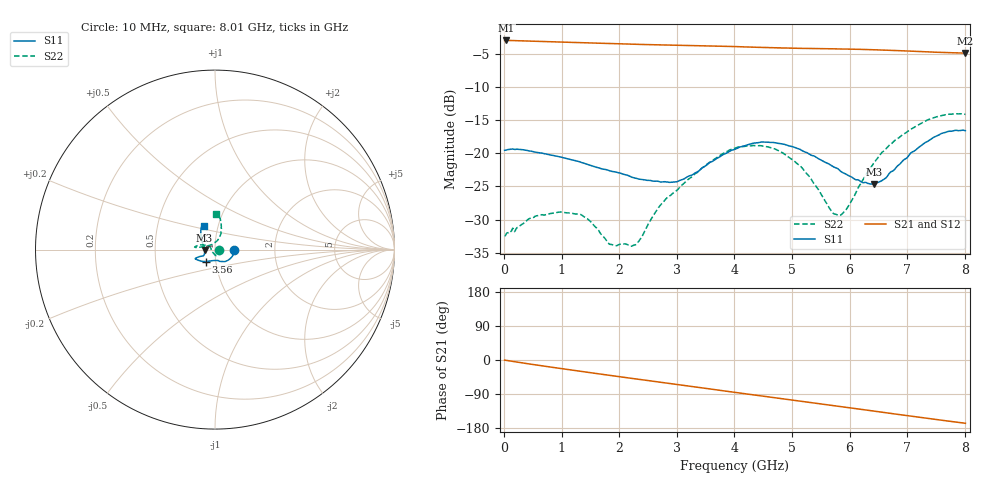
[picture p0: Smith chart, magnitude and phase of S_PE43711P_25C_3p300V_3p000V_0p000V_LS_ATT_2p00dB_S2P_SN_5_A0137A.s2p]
! Device ID: PE43711P
! File Path: z:\PE43711P\CHAR_NOM_04282014\AMB\3p300\LS_ATT_2p00dB\PE43711P_AMB_3p300V_3p000V_0p000V_LS_ATT_2p00dB_S2P_SN_5_A0137A.s2p
! Serial: 5
! Lot: A0137A
! Temp: 25C
! VDD: 3.300
! VSS: 0.000
! Control_Hi: 3.000
! Control_Lo: 0.000
! Attenuation Step: 2.00dB
! Port 1: RF1
! Port 2: RF2
! ThroughPath:1-2
! IDD: 0.0001275157
! ISS: -1.42e-007
#  Hz  S  RI  R  50
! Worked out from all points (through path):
!   801 points, 10 MHz to 8.01 GHz, reference 50 ohm
!   highest |S21| = -3.02 dB at 40 MHz (marker M1); lowest = -4.9 dB at 8.01 GHz (marker M2)
!   group delay of S21, straight-line fit = 57.4 ps
!   lowest |S11| = -24.7 dB at 6.42 GHz (marker M3), VSWR 1.12, Z = 44.5 - j0.234 ohm
!   |S11| at or under -10 dB: start of sweep to end of sweep
!   |S22| runs from -34.0 to -14.0 dB; largest |S21 - S12| = 0.001
!   S11 on the Smith chart (normalised r, x): 10 MHz: 1.24, -0.00; 3.56 GHz: 0.89, -0.12; 8.01 GHz: 0.85, +0.23
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1e7  0.1052 -0.000597  0.7059 -0.00344  0.7061 -0.00361  0.0238 -0.000217
4e7  0.1057 -0.00213  0.7059 -0.0121  0.7059 -0.0121  0.0247 -0.000385
5.8e8  0.0918 -0.0425  0.6759 -0.1639  0.6759 -0.1639  0.0236 -0.0243
9.7e8  0.0724 -0.0597  0.6359 -0.2588  0.636 -0.2589  0.0147 -0.0329
1.35e9  0.0525 -0.0669  0.5866 -0.3426  0.5868 -0.3427  0.00478 -0.0339
1.84e9  0.0326 -0.066  0.5083 -0.4361  0.5086 -0.4362  -0.00971 -0.0182
2.22e9  0.0209 -0.0626  0.4382 -0.496  0.4385 -0.4963  -0.0196 -0.00366
2.36e9  0.0179 -0.0611  0.4111 -0.5153  0.4114 -0.5156  -0.022 0.00448
2.68e9  0.00961 -0.0606  0.3476 -0.5546  0.3479 -0.5549  -0.0335 0.0198
3.03e9  -0.00934 -0.0611  0.2733 -0.5898  0.2736 -0.5903  -0.0486 0.0239
3.56e9  -0.0514 -0.0671  0.1549 -0.6237  0.1549 -0.624  -0.0811 0.0257
4.01e9  -0.0882 -0.0607  0.0502 -0.633  0.0499 -0.6335  -0.1077 0.0183
4.71e9  -0.1093 -0.0494  -0.1042 -0.6137  -0.1041 -0.6138  -0.1067 0.0116
5.13e9  -0.0981 -0.0433  -0.1905 -0.5858  -0.1907 -0.5864  -0.0797 0.0144
5.35e9  -0.0881 -0.0385  -0.2344 -0.5675  -0.2346 -0.5681  -0.0598 0.0164
5.69e9  -0.0715 -0.0365  -0.3006 -0.5322  -0.3005 -0.5322  -0.0262 0.0252
5.83e9  -0.0653 -0.0351  -0.3264 -0.5147  -0.3264 -0.5147  -0.0124 0.0316
5.96e9  -0.0614 -0.0307  -0.3494 -0.4973  -0.3493 -0.4975  -0.000683 0.0389
6.42e9  -0.0583 -0.00263  -0.4232 -0.4262  -0.4235 -0.4265  0.0298 0.079
6.68e9  -0.0656 0.0235  -0.4577 -0.3813  -0.4575 -0.3816  0.0343 0.1087
7.45e9  -0.0791 0.1046  -0.527 -0.2347  -0.5273 -0.2349  0.0229 0.1832
8.01e9  -0.0621 0.1341  -0.5526 -0.1279  -0.5531 -0.127  0.00474 0.196
